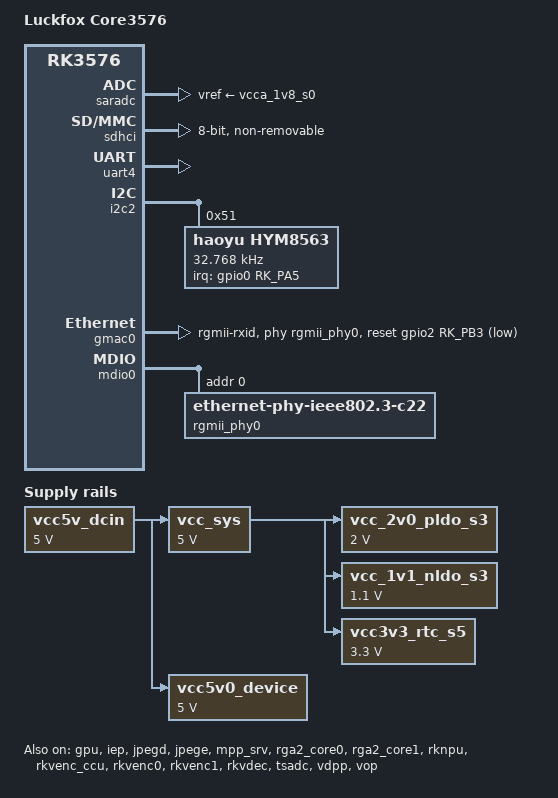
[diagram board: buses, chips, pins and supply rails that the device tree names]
// SPDX-License-Identifier: (GPL-2.0+ OR MIT)
/*
 * Copyright (c) 2024 Luckfox Technology Co., Ltd.
 *
 */
#include <dt-bindings/gpio/gpio.h>
#include <dt-bindings/pwm/pwm.h>
#include <dt-bindings/pinctrl/rockchip.h>
#include <dt-bindings/input/rk-input.h>
#include <dt-bindings/display/drm_mipi_dsi.h>
#include <dt-bindings/display/rockchip_vop.h>
#include <dt-bindings/sensor-dev.h>

#include "rk3576.dtsi"
#include "rk3576-rk806.dtsi"

/ {
	model = "Luckfox Core3576";
	compatible = "luckfox,core3576","rockchip,rk3576";

	chosen: chosen {
		bootargs = "earlycon=uart8250,mmio32,0x2ad40000 console=ttyFIQ0 root=PARTUUID=614e0000-0000 rw rootwait rcupdate.rcu_expedited=1 rcu_nocbs=all";
	};

	vcc5v_dcin: vcc5v-dcin {
		compatible = "regulator-fixed";
		regulator-name = "vcc5v_dcin";
		regulator-always-on;
		regulator-boot-on;
		regulator-min-microvolt = <5000000>;
		regulator-max-microvolt = <5000000>;
	};

	vcc_sys: vcc5v0-sys {
		compatible = "regulator-fixed";
		regulator-name = "vcc_sys";
		regulator-always-on;
		regulator-boot-on;
		regulator-min-microvolt = <5000000>;
		regulator-max-microvolt = <5000000>;
		vin-supply = <&vcc5v_dcin>;
	};

	vcc5v0_device: vcc5v0-device {
		compatible = "regulator-fixed";
		regulator-name = "vcc5v0_device";
		regulator-always-on;
		regulator-boot-on;
		regulator-min-microvolt = <5000000>;
		regulator-max-microvolt = <5000000>;
		vin-supply = <&vcc5v_dcin>;
	};

	vcc_2v0_pldo_s3: vcc-2v0-pldo-s3 {
		compatible = "regulator-fixed";
		regulator-name = "vcc_2v0_pldo_s3";
		regulator-boot-on;
		regulator-always-on;
		regulator-min-microvolt = <2000000>;
		regulator-max-microvolt = <2000000>;
		vin-supply = <&vcc_sys>;
	};

	vcc_1v1_nldo_s3: vcc-1v1-nldo-s3 {
		compatible = "regulator-fixed";
		regulator-name = "vcc_1v1_nldo_s3";
		regulator-boot-on;
		regulator-always-on;
		regulator-min-microvolt = <1100000>;
		regulator-max-microvolt = <1100000>;
		vin-supply = <&vcc_sys>;
	};

	vcc3v3_rtc_s5: vcc3v3-rtc-s5 {
		compatible = "regulator-fixed";
		regulator-name = "vcc3v3_rtc_s5";
		regulator-boot-on;
		regulator-always-on;
		regulator-min-microvolt = <3300000>;
		regulator-max-microvolt = <3300000>;
		vin-supply = <&vcc_sys>;
	};
};


&cpu_l0 {
	cpu-supply = <&vdd_cpu_lit_s0>;
};

&cpu_b0 {
	cpu-supply = <&vdd_cpu_big_s0>;
};

&gpu {
	mali-supply = <&vdd_gpu_s0>;
	status = "okay";
};

&iep {
	status = "okay";
};

&iep_mmu {
	status = "okay";
};

&jpegd {
	status = "okay";
};

&jpege {
	status = "okay";
};

&jpeg_mmu {
	status = "okay";
};

&mpp_srv {
	status = "okay";
};

&rga2_core0 {
	status = "okay";
};

&rga2_core0_mmu {
	status = "okay";
};

&rga2_core1 {
	status = "okay";
};

&rga2_core1_mmu {
	status = "okay";
};

&rknpu {
	rknpu-supply = <&vdd_npu_s0>;
	status = "okay";
};

&rknpu_mmu {
	status = "okay";
};

&rkvenc_ccu {
	status = "okay";
};

&rkvenc0 {
	status = "okay";
};

&rkvenc0_mmu {
	status = "okay";
};

&rkvenc1 {
	status = "okay";
};

&rkvenc1_mmu {
	status = "okay";

};

&rkvdec {
	status = "okay";
};

&rkvdec_mmu {
	status = "okay";
};

&rockchip_suspend {
	status = "okay";

	rockchip,sleep-debug-en = <1>;
	rockchip,sleep-io-ret-config = <
		(0
		| RKPM_VCCIO3_RET_EN
		)
	>;
};

&saradc {
	status = "okay";
	vref-supply = <&vcca_1v8_s0>;
};

&tsadc {
	status = "okay";
};

// EMMC
&sdhci {
	bus-width = <8>;
	no-sdio;
	no-sd;
	non-removable;
	max-frequency = <200000000>;
	mmc-hs400-1_8v;
	mmc-hs400-enhanced-strobe;
	full-pwr-cycle-in-suspend;
	status = "okay";
};

&uart4 {
	status = "okay";
	pinctrl-names = "default";
	pinctrl-0 = <&uart4m1_xfer &uart4m1_ctsn>;
};


&vdpp {
	status = "okay";
};

&vop {
	status = "okay";
	/* vop-supply = <&vdd_logic_s0>; */
};

&vop_mmu {
	status = "okay";
};

&vp2 {
	assigned-clocks = <&cru DCLK_VP2_SRC>;
	assigned-clock-parents = <&cru PLL_VPLL>;
};

&i2c2 {
	status = "okay";
	pinctrl-0 = <&i2c2m0_xfer>;
	hym8563: hym8563@51 {
		compatible = "haoyu,hym8563";
		reg = <0x51>;
		#clock-cells = <0>;
		clock-frequency = <32768>;
		clock-output-names = "hym8563";
		pinctrl-names = "default";
		pinctrl-0 = <&hym8563_int>;
		interrupt-parent = <&gpio0>;
		interrupts = <RK_PA5 IRQ_TYPE_LEVEL_LOW>;
		wakeup-source;
	};
};

&pinctrl {
	hym8563 {
		hym8563_int: hym8563-int {
			rockchip,pins = <0 RK_PA4 RK_FUNC_GPIO &pcfg_pull_up>;
		};
	};
};

&gmac0 {
	/* Use rgmii-rxid mode to disable rx delay inside Soc */
	phy-mode = "rgmii-rxid";
	clock_in_out = "output";

	snps,reset-gpio = <&gpio2 RK_PB3 GPIO_ACTIVE_LOW>;
	snps,reset-active-low;
	/* Reset time is 20ms, 100ms for rtl8211f */
	snps,reset-delays-us = <0 20000 100000>;

	pinctrl-names = "default";
	pinctrl-0 = <&eth0m0_miim
			 &eth0m0_tx_bus2
			 &eth0m0_rx_bus2
			 &eth0m0_rgmii_clk
			 &eth0m0_rgmii_bus
			 &ethm0_clk0_25m_out>;

	tx_delay = <0x20>;
	/* rx_delay = <0x3f>; */

	phy-handle = <&rgmii_phy0>;
	status = "okay";
};

&mdio0 {
	rgmii_phy0: phy@1 {
		compatible = "ethernet-phy-ieee802.3-c22";
		reg = <0x0>;
		clocks = <&cru REFCLKO25M_GMAC0_OUT>;
	};
};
